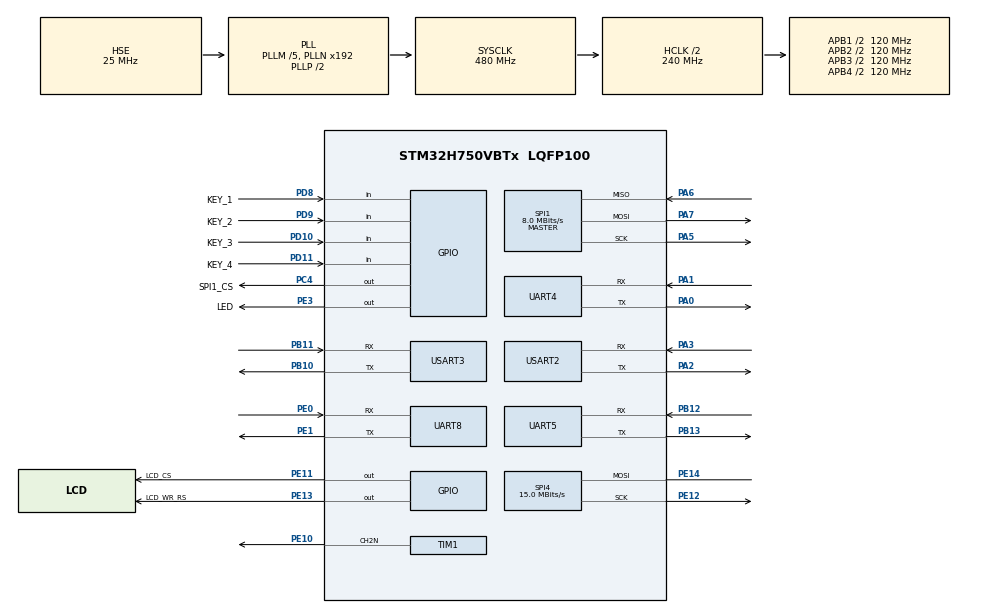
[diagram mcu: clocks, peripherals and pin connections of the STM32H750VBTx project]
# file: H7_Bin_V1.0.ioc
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CORTEX_M7.CPU_ICache=Enabled
Dma.Request0=UART4_RX
Dma.Request1=UART4_TX
Dma.Request2=UART8_RX
Dma.Request3=UART8_TX
Dma.UART4_RX.0.Direction=DMA_PERIPH_TO_MEMORY
Dma.UART4_RX.0.EventEnable=DISABLE
Dma.UART4_RX.0.FIFOMode=DMA_FIFOMODE_DISABLE
Dma.UART4_RX.0.Instance=DMA1_Stream0
Dma.UART4_RX.0.MemDataAlignment=DMA_MDATAALIGN_BYTE
Dma.UART4_RX.0.MemInc=DMA_MINC_ENABLE
Dma.UART4_RX.0.Mode=DMA_CIRCULAR
Dma.UART4_RX.0.PeriphDataAlignment=DMA_PDATAALIGN_BYTE
Dma.UART4_RX.0.PeriphInc=DMA_PINC_DISABLE
Dma.UART4_RX.0.Polarity=HAL_DMAMUX_REQ_GEN_RISING
Dma.UART4_RX.0.Priority=DMA_PRIORITY_LOW
Dma.UART4_RX.0.RequestNumber=1
Dma.UART4_RX.0.SignalID=NONE
Dma.UART4_RX.0.SyncEnable=DISABLE
Dma.UART4_RX.0.SyncPolarity=HAL_DMAMUX_SYNC_NO_EVENT
Dma.UART4_RX.0.SyncRequestNumber=1
Dma.UART4_RX.0.SyncSignalID=NONE
Dma.UART4_TX.1.Direction=DMA_MEMORY_TO_PERIPH
Dma.UART4_TX.1.EventEnable=DISABLE
Dma.UART4_TX.1.FIFOMode=DMA_FIFOMODE_DISABLE
Dma.UART4_TX.1.Instance=DMA1_Stream1
Dma.UART4_TX.1.MemDataAlignment=DMA_MDATAALIGN_BYTE
Dma.UART4_TX.1.MemInc=DMA_MINC_ENABLE
Dma.UART4_TX.1.Mode=DMA_CIRCULAR
Dma.UART4_TX.1.PeriphDataAlignment=DMA_PDATAALIGN_BYTE
Dma.UART4_TX.1.PeriphInc=DMA_PINC_DISABLE
Dma.UART4_TX.1.Polarity=HAL_DMAMUX_REQ_GEN_RISING
Dma.UART4_TX.1.Priority=DMA_PRIORITY_LOW
Dma.UART4_TX.1.RequestNumber=1
Dma.UART4_TX.1.SignalID=NONE
Dma.UART4_TX.1.SyncEnable=DISABLE
Dma.UART4_TX.1.SyncPolarity=HAL_DMAMUX_SYNC_NO_EVENT
Dma.UART4_TX.1.SyncRequestNumber=1
Dma.UART4_TX.1.SyncSignalID=NONE
Dma.UART8_RX.2.Direction=DMA_PERIPH_TO_MEMORY
Dma.UART8_RX.2.EventEnable=DISABLE
Dma.UART8_RX.2.FIFOMode=DMA_FIFOMODE_DISABLE
Dma.UART8_RX.2.Instance=DMA1_Stream2
Dma.UART8_RX.2.MemDataAlignment=DMA_MDATAALIGN_BYTE
Dma.UART8_RX.2.MemInc=DMA_MINC_ENABLE
Dma.UART8_RX.2.Mode=DMA_CIRCULAR
Dma.UART8_RX.2.PeriphDataAlignment=DMA_PDATAALIGN_BYTE
Dma.UART8_RX.2.PeriphInc=DMA_PINC_DISABLE
Dma.UART8_RX.2.Polarity=HAL_DMAMUX_REQ_GEN_RISING
Dma.UART8_RX.2.Priority=DMA_PRIORITY_LOW
Dma.UART8_RX.2.RequestNumber=1
Dma.UART8_RX.2.SignalID=NONE
Dma.UART8_RX.2.SyncEnable=DISABLE
Dma.UART8_RX.2.SyncPolarity=HAL_DMAMUX_SYNC_NO_EVENT
Dma.UART8_RX.2.SyncRequestNumber=1
Dma.UART8_RX.2.SyncSignalID=NONE
Dma.UART8_TX.3.Direction=DMA_MEMORY_TO_PERIPH
Dma.UART8_TX.3.EventEnable=DISABLE
Dma.UART8_TX.3.FIFOMode=DMA_FIFOMODE_DISABLE
Dma.UART8_TX.3.Instance=DMA1_Stream3
Dma.UART8_TX.3.MemDataAlignment=DMA_MDATAALIGN_BYTE
Dma.UART8_TX.3.MemInc=DMA_MINC_ENABLE
Dma.UART8_TX.3.Mode=DMA_NORMAL
Dma.UART8_TX.3.PeriphDataAlignment=DMA_PDATAALIGN_BYTE
Dma.UART8_TX.3.PeriphInc=DMA_PINC_DISABLE
Dma.UART8_TX.3.Polarity=HAL_DMAMUX_REQ_GEN_RISING
Dma.UART8_TX.3.Priority=DMA_PRIORITY_LOW
Dma.UART8_TX.3.RequestNumber=1
Dma.UART8_TX.3.SignalID=NONE
Dma.UART8_TX.3.SyncEnable=DISABLE
Dma.UART8_TX.3.SyncPolarity=HAL_DMAMUX_SYNC_NO_EVENT
Dma.UART8_TX.3.SyncRequestNumber=1
Dma.UART8_TX.3.SyncSignalID=NONE
FREERTOS.Tasks01=defaultTask,24,128,StartDefaultTask,Default,NULL,Dynamic,NULL,NULL;shell_log,8,512,log_task,As weak,NULL,Dynamic,NULL,NULL;lcd_show,8,128,lcd_task,As weak,NULL,Dynamic,NULL,NULL;classify_trash,40,1024,trash_task,As weak,NULL,Dynamic,NULL,NULL
FREERTOS.configENABLE_FPU=1
FREERTOS.configGENERATE_RUN_TIME_STATS=1
FREERTOS.configRECORD_STACK_HIGH_ADDRESS=1
FREERTOS.configTIMER_TASK_PRIORITY=2
FREERTOS.configTOTAL_HEAP_SIZE=32768
FREERTOS.configUSE_NEWLIB_REENTRANT=1
Mcu.Family=STM32H7
Mcu.Name=STM32H750VBTx
Mcu.Package=LQFP100
NVIC.DMA1_Stream0_IRQn=true\:5\:0\:false\:false\:true\:true\:false\:true\:true
NVIC.DMA1_Stream1_IRQn=true\:5\:0\:false\:false\:true\:true\:false\:true\:true
NVIC.DMA1_Stream2_IRQn=true\:5\:0\:false\:false\:true\:true\:false\:true\:true
NVIC.DMA1_Stream3_IRQn=true\:5\:0\:false\:false\:true\:true\:false\:true\:true
NVIC.PriorityGroup=NVIC_PRIORITYGROUP_4
NVIC.SPI1_IRQn=true\:5\:0\:false\:false\:true\:true\:true\:true\:true
NVIC.TIM17_IRQn=true\:15\:0\:false\:false\:true\:false\:false\:true\:true
NVIC.TimeBase=TIM17_IRQn
NVIC.TimeBaseIP=TIM17
NVIC.UART4_IRQn=true\:5\:0\:false\:false\:true\:true\:true\:true\:true
NVIC.UART5_IRQn=true\:5\:0\:false\:false\:true\:true\:true\:true\:true
NVIC.UART8_IRQn=true\:5\:0\:false\:false\:true\:true\:true\:true\:true
NVIC.USART2_IRQn=true\:5\:0\:false\:false\:true\:true\:true\:true\:true
NVIC.USART3_IRQn=true\:5\:0\:false\:false\:true\:true\:true\:true\:true
PA0.Mode=Asynchronous
PA0.Signal=UART4_TX
PA1.Mode=Asynchronous
PA1.Signal=UART4_RX
PA13\ (JTMS/SWDIO).Mode=Serial_Wire
PA13\ (JTMS/SWDIO).Signal=DEBUG_JTMS-SWDIO
PA14\ (JTCK/SWCLK).Mode=Serial_Wire
PA14\ (JTCK/SWCLK).Signal=DEBUG_JTCK-SWCLK
PA2.Mode=Asynchronous
PA2.Signal=USART2_TX
PA3.Mode=Asynchronous
PA3.Signal=USART2_RX
PA5.Mode=Full_Duplex_Master
PA5.Signal=SPI1_SCK
PA6.Mode=Full_Duplex_Master
PA6.Signal=SPI1_MISO
PA7.Mode=Full_Duplex_Master
PA7.Signal=SPI1_MOSI
PB10.Mode=Asynchronous
PB10.Signal=USART3_TX
PB11.Mode=Asynchronous
PB11.Signal=USART3_RX
PB12.Mode=Asynchronous
PB12.Signal=UART5_RX
PB13.Mode=Asynchronous
PB13.Signal=UART5_TX
PC4.GPIO_Label=SPI1_CS
PC4.Signal=GPIO_Output
PD10.GPIO_Label=KEY_3
PD10.Signal=GPIO_Input
PD11.GPIO_Label=KEY_4
PD11.Signal=GPIO_Input
PD8.GPIO_Label=KEY_1
PD8.Signal=GPIO_Input
PD9.GPIO_Label=KEY_2
PD9.Signal=GPIO_Input
PE0.Mode=Asynchronous
PE0.Signal=UART8_RX
PE1.Mode=Asynchronous
PE1.Signal=UART8_TX
PE10.Mode=PWM Generation2 CH2N
PE10.Signal=TIM1_CH2N
PE11.GPIO_Label=LCD_CS
PE11.GPIO_Speed=GPIO_SPEED_FREQ_VERY_HIGH
PE11.PinState=GPIO_PIN_SET
PE11.Signal=GPIO_Output
PE12.GPIO_Speed=GPIO_SPEED_FREQ_HIGH
PE12.Mode=Simplex_Bidirectional_Master
PE12.Signal=SPI4_SCK
PE13.GPIO_Label=LCD_WR_RS
PE13.GPIO_Speed=GPIO_SPEED_FREQ_VERY_HIGH
PE13.PinState=GPIO_PIN_SET
PE13.Signal=GPIO_Output
PE14.GPIO_Speed=GPIO_SPEED_FREQ_HIGH
PE14.Mode=Simplex_Bidirectional_Master
PE14.Signal=SPI4_MOSI
PE3.GPIO_Label=LED
PE3.Signal=GPIO_Output
PH0-OSC_IN\ (PH0).Mode=HSE-External-Oscillator
PH0-OSC_IN\ (PH0).Signal=RCC_OSC_IN
PH1-OSC_OUT\ (PH1).Mode=HSE-External-Oscillator
PH1-OSC_OUT\ (PH1).Signal=RCC_OSC_OUT
ProjectManager.HeapSize=0x200
ProjectManager.StackSize=0x400
ProjectManager.TargetToolchain=STM32CubeIDE
RCC.ADCFreq_Value=50390625
RCC.APB1Freq_Value=120000000
RCC.APB2Freq_Value=120000000
RCC.APB3Freq_Value=120000000
RCC.APB4Freq_Value=120000000
RCC.CortexFreq_Value=480000000
RCC.D1PPRE=RCC_APB3_DIV2
RCC.D2PPRE1=RCC_APB1_DIV2
RCC.D2PPRE2=RCC_APB2_DIV2
RCC.D3PPRE=RCC_APB4_DIV2
RCC.DIVM1=5
RCC.DIVN1=192
RCC.FLatency-AdvancedSettings=FLASH_LATENCY_0
RCC.HCLKFreq_Value=240000000
RCC.HPRE=RCC_HCLK_DIV2
RCC.PLL1_VCI_Range-AdvancedSettings=RCC_PLL1VCIRANGE_0
RCC.PLL2FRACN=0
RCC.PLL2_VCI_Range-AdvancedSettings=RCC_PLL2VCIRANGE_0
RCC.PLL3FRACN=0
RCC.PLLFRACN=0
RCC.PLLSourceVirtual=RCC_PLLSOURCE_HSE
RCC.SPI123CLockSelection=RCC_SPI123CLKSOURCE_CLKP
RCC.SYSCLKFreq_VALUE=480000000
RCC.SYSCLKSource=RCC_SYSCLKSOURCE_PLLCLK
RCC.USBFreq_Value=480000000
SPI1.BaudRatePrescaler=SPI_BAUDRATEPRESCALER_8
SPI1.CLKPhase=SPI_PHASE_2EDGE
SPI1.CalculateBaudRate=8.0 MBits/s
SPI1.DataSize=SPI_DATASIZE_16BIT
SPI1.Direction=SPI_DIRECTION_2LINES
SPI1.Mode=SPI_MODE_MASTER
SPI1.VirtualType=VM_MASTER
SPI4.BaudRatePrescaler=SPI_BAUDRATEPRESCALER_8
SPI4.CalculateBaudRate=15.0 MBits/s
SPI4.DataSize=SPI_DATASIZE_8BIT
SPI4.Direction=SPI_DIRECTION_1LINE
SPI4.Mode=SPI_MODE_MASTER
SPI4.VirtualType=VM_MASTER
TIM1.Channel-PWM\ Generation2\ CH2N=TIM_CHANNEL_2
TIM1.Period=1000-1
TIM1.Prescaler=24-1
UART4.OverrunDisableParam=UART_ADVFEATURE_OVERRUN_DISABLE
USART2.VirtualMode-Asynchronous=VM_ASYNC
USART3.VirtualMode-Asynchronous=VM_ASYNC
VP_FREERTOS_VS_CMSIS_V2.Mode=CMSIS_V2
VP_RTC_VS_RTC_Activate.Mode=RTC_Enabled
VP_RTC_VS_RTC_Calendar.Mode=RTC_Calendar
VP_SYS_VS_tim17.Mode=TIM17
board=custom

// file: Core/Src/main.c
/* USER CODE BEGIN Header */
/**
  ******************************************************************************
  * @file           : main.c
  * @brief          : Main program body
  ******************************************************************************
  * @attention
  *
  * Copyright (c) 2022 STMicroelectronics.
  * All rights reserved.
  *
  * This software is licensed under terms that can be found in the LICENSE file
  * in the root directory of this software component.
  * If no LICENSE file comes with this software, it is provided AS-IS.
  *
  ******************************************************************************
  */
/* USER CODE END Header */
#include "main.h"
#include "cmsis_os.h"
#include "dma.h"
#include "rtc.h"
#include "spi.h"
#include "tim.h"
#include "usart.h"
#include "gpio.h"

/* USER CODE BEGIN Includes */
#include "DPSDrive.h"
#include "tle5012b.h"
/* USER CODE END Includes */

/* USER CODE BEGIN PV */
extern RingQueue Q[Queue_Size];
/* USER CODE END PV */

void SystemClock_Config(void);
void PeriphCommonClock_Config(void);
void MX_FREERTOS_Init(void);

int main(void)
{

  /* Enable I-Cache---------------------------------------------------------*/
  SCB_EnableICache();

  /* MCU Configuration--------------------------------------------------------*/

  /* Reset of all peripherals, Initializes the Flash interface and the Systick. */
  HAL_Init();

  /* Configure the system clock */
  SystemClock_Config();

/* Configure the peripherals common clocks */
  PeriphCommonClock_Config();

  /* Initialize all configured peripherals */
  MX_GPIO_Init();
  MX_UART4_Init();
  MX_SPI4_Init();
  MX_RTC_Init();
  MX_DMA_Init();
  MX_TIM1_Init();
  MX_USART2_UART_Init();
  MX_USART3_UART_Init();
  MX_SPI1_Init();
  MX_UART5_Init();
  MX_UART8_Init();
  /* USER CODE BEGIN 2 */
  //  HAL_UART_Receive_IT(&huart8, RxBuffer, RxBuffSize);
  /* USER CODE END 2 */

  /* Init scheduler */
  osKernelInitialize();  /* Call init function for freertos objects (in freertos.c) */
  MX_FREERTOS_Init();

  /* Start scheduler */
  osKernelStart();

  /* We should never get here as control is now taken by the scheduler */
  /* Infinite loop */
  while (1)
  {

  }
}

void SystemClock_Config(void)
{
  RCC_OscInitTypeDef RCC_OscInitStruct = {0};
  RCC_ClkInitTypeDef RCC_ClkInitStruct = {0};

  /** Supply configuration update enable
  */
  HAL_PWREx_ConfigSupply(PWR_LDO_SUPPLY);

  /** Configure the main internal regulator output voltage
  */
  __HAL_PWR_VOLTAGESCALING_CONFIG(PWR_REGULATOR_VOLTAGE_SCALE1);

  while(!__HAL_PWR_GET_FLAG(PWR_FLAG_VOSRDY)) {}

  __HAL_RCC_SYSCFG_CLK_ENABLE();
  __HAL_PWR_VOLTAGESCALING_CONFIG(PWR_REGULATOR_VOLTAGE_SCALE0);

  while(!__HAL_PWR_GET_FLAG(PWR_FLAG_VOSRDY)) {}

  /** Initializes the RCC Oscillators according to the specified parameters
  * in the RCC_OscInitTypeDef structure.
  */
  RCC_OscInitStruct.OscillatorType = RCC_OSCILLATORTYPE_HSI|RCC_OSCILLATORTYPE_LSI
                              |RCC_OSCILLATORTYPE_HSE;
  RCC_OscInitStruct.HSEState = RCC_HSE_ON;
  RCC_OscInitStruct.HSIState = RCC_HSI_DIV1;
  RCC_OscInitStruct.HSICalibrationValue = RCC_HSICALIBRATION_DEFAULT;
  RCC_OscInitStruct.LSIState = RCC_LSI_ON;
  RCC_OscInitStruct.PLL.PLLState = RCC_PLL_ON;
  RCC_OscInitStruct.PLL.PLLSource = RCC_PLLSOURCE_HSE;
  RCC_OscInitStruct.PLL.PLLM = 5;
  RCC_OscInitStruct.PLL.PLLN = 192;
  RCC_OscInitStruct.PLL.PLLP = 2;
  RCC_OscInitStruct.PLL.PLLQ = 2;
  RCC_OscInitStruct.PLL.PLLR = 2;
  RCC_OscInitStruct.PLL.PLLRGE = RCC_PLL1VCIRANGE_2;
  RCC_OscInitStruct.PLL.PLLVCOSEL = RCC_PLL1VCOWIDE;
  RCC_OscInitStruct.PLL.PLLFRACN = 0;
  if (HAL_RCC_OscConfig(&RCC_OscInitStruct) != HAL_OK)
  {
    Error_Handler();
  }

  /** Initializes the CPU, AHB and APB buses clocks
  */
  RCC_ClkInitStruct.ClockType = RCC_CLOCKTYPE_HCLK|RCC_CLOCKTYPE_SYSCLK
                              |RCC_CLOCKTYPE_PCLK1|RCC_CLOCKTYPE_PCLK2
                              |RCC_CLOCKTYPE_D3PCLK1|RCC_CLOCKTYPE_D1PCLK1;
  RCC_ClkInitStruct.SYSCLKSource = RCC_SYSCLKSOURCE_PLLCLK;
  RCC_ClkInitStruct.SYSCLKDivider = RCC_SYSCLK_DIV1;
  RCC_ClkInitStruct.AHBCLKDivider = RCC_HCLK_DIV2;
  RCC_ClkInitStruct.APB3CLKDivider = RCC_APB3_DIV2;
  RCC_ClkInitStruct.APB1CLKDivider = RCC_APB1_DIV2;
  RCC_ClkInitStruct.APB2CLKDivider = RCC_APB2_DIV2;
  RCC_ClkInitStruct.APB4CLKDivider = RCC_APB4_DIV2;

  if (HAL_RCC_ClockConfig(&RCC_ClkInitStruct, FLASH_LATENCY_4) != HAL_OK)
  {
    Error_Handler();
  }
}

void PeriphCommonClock_Config(void)
{
  RCC_PeriphCLKInitTypeDef PeriphClkInitStruct = {0};

  /** Initializes the peripherals clock
  */
  PeriphClkInitStruct.PeriphClockSelection = RCC_PERIPHCLK_CKPER;
  PeriphClkInitStruct.CkperClockSelection = RCC_CLKPSOURCE_HSI;
  if (HAL_RCCEx_PeriphCLKConfig(&PeriphClkInitStruct) != HAL_OK)
  {
    Error_Handler();
  }
}

void HAL_TIM_PeriodElapsedCallback(TIM_HandleTypeDef *htim)
{
  if (htim->Instance == TIM17) {
    HAL_IncTick();
  }
}

void Error_Handler(void)
{
  __disable_irq();
  while (1)
  {
  }
}

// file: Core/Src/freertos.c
/* USER CODE BEGIN Header */
/**
  ******************************************************************************
  * File Name          : freertos.c
  * Description        : Code for freertos applications
  ******************************************************************************
  * @attention
  *
  * Copyright (c) 2022 STMicroelectronics.
  * All rights reserved.
  *
  * This software is licensed under terms that can be found in the LICENSE file
  * in the root directory of this software component.
  * If no LICENSE file comes with this software, it is provided AS-IS.
  *
  ******************************************************************************
  */
/* USER CODE END Header */

#include "FreeRTOS.h"
#include "cmsis_os.h"
#include "main.h"
#include "task.h"

/* USER CODE BEGIN Includes */
#include "DPSDrive.h"
#include "debug.h"
#include "shell.h"
#include "shell_port.h"
#include "tle5012b.h"
/* USER CODE END Includes */

/* USER CODE BEGIN PD */
extern DEBUG_t debug;
/* USER CODE END PD */

/* USER CODE BEGIN Variables */
Shell shell;
char shell_buffer[512];
/* USER CODE END Variables */
/* Definitions for defaultTask */
osThreadId_t defaultTaskHandle;
const osThreadAttr_t defaultTask_attributes = {
        .name = "defaultTask",
        .stack_size = 128 * 4,
        .priority = (osPriority_t) osPriorityNormal,
};
/* Definitions for shell_log */
osThreadId_t shell_logHandle;
const osThreadAttr_t shell_log_attributes = {
        .name = "shell_log",
        .stack_size = 512 * 4,
        .priority = (osPriority_t) osPriorityLow,
};
/* Definitions for lcd_show */
osThreadId_t lcd_showHandle;
const osThreadAttr_t lcd_show_attributes = {
        .name = "lcd_show",
        .stack_size = 128 * 4,
        .priority = (osPriority_t) osPriorityLow,
};
/* Definitions for classify_trash */
osThreadId_t classify_trashHandle;
const osThreadAttr_t classify_trash_attributes = {
        .name = "classify_trash",
        .stack_size = 1024 * 4,
        .priority = (osPriority_t) osPriorityHigh,
};

void StartDefaultTask(void *argument);
void log_task(void *argument);
void lcd_task(void *argument);
void trash_task(void *argument);

void MX_FREERTOS_Init(void); /* (MISRA C 2004 rule 8.1) */

/* Hook prototypes */
void configureTimerForRunTimeStats(void);
unsigned long getRunTimeCounterValue(void);

/* USER CODE BEGIN 1 */
/* Functions needed when configGENERATE_RUN_TIME_STATS is on */
__weak void configureTimerForRunTimeStats(void)
{
}

__weak unsigned long getRunTimeCounterValue(void)
{
  return 0;
}
/* USER CODE END 1 */

void MX_FREERTOS_Init(void)
{

  /* Create the thread(s) */
  /* creation of defaultTask */
  defaultTaskHandle = osThreadNew(StartDefaultTask, NULL, &defaultTask_attributes);

  /* creation of shell_log */
  shell_logHandle = osThreadNew(log_task, NULL, &shell_log_attributes);

  /* creation of lcd_show */
  lcd_showHandle = osThreadNew(lcd_task, NULL, &lcd_show_attributes);

  /* creation of classify_trash */
  classify_trashHandle = osThreadNew(trash_task, NULL, &classify_trash_attributes);

}

void StartDefaultTask(void *argument)
{
  /* USER CODE BEGIN StartDefaultTask */
  osThreadExit();//退出默认线程
  /* Infinite loop */
  for (;;)
  {
    osDelay(1);
  }
  /* USER CODE END StartDefaultTask */
}

__weak void log_task(void *argument)
{
  /* USER CODE BEGIN log_task */
  shell.write = User_Shell_Write;
  shell.read = User_Shell_Read;
  shellInit(&shell, shell_buffer, 512);
  char data;
  /* Infinite loop */
  for (;;)
  {
    if (shell.read && shell.read(&data, 1) == 1)
    {
      shellHandler(&shell, data);
    }
    osDelay(1);
  }
  /* USER CODE END log_task */
}

__weak void lcd_task(void *argument)
{
  for (;;)
  {
    osDelay(1);
  }
}

__weak void trash_task(void *argument)
{
  for (;;)
  {
    osDelay(1);
  }
}
